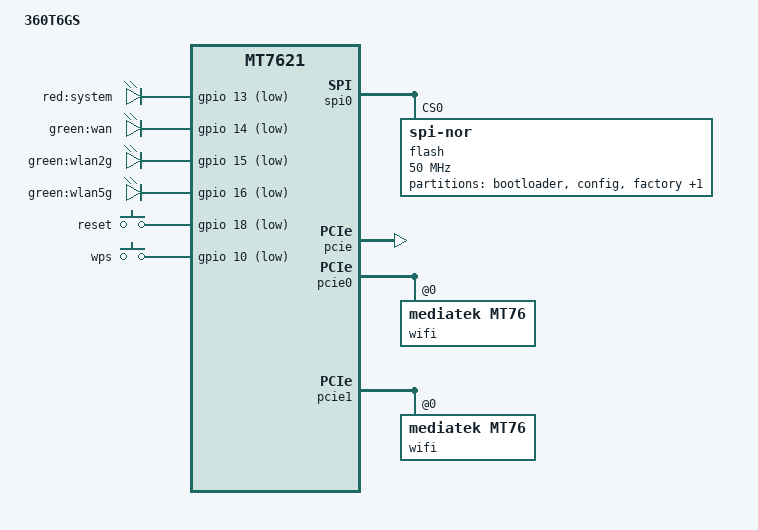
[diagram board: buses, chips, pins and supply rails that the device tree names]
// SPDX-License-Identifier: GPL-2.0-or-later OR MIT

#include "mt7621.dtsi"

#include <dt-bindings/gpio/gpio.h>
#include <dt-bindings/input/input.h>
#include <dt-bindings/leds/common.h>

/ {
	compatible = "360,360t6gs", "mediatek,mt7621-soc";
	model = "360T6GS";

	aliases {
		led-boot = &led_system;
		led-failsafe = &led_system;
		led-running = &led_system;
		led-upgrade = &led_system;
		label-mac-device = &gmac0;
	};

	chosen {
		bootargs = "console=ttyS0,115200";
	};

	leds {
		compatible = "gpio-leds";

		led_system: system {
			label = "red:system";
			gpios = <&gpio 13 GPIO_ACTIVE_LOW>;
		};

		wan {
			label = "green:wan";
			gpios = <&gpio 14 GPIO_ACTIVE_LOW>;
		};

		wlan2g {
			label = "green:wlan2g";
			gpios = <&gpio 15 GPIO_ACTIVE_LOW>;
			linux,default-trigger = "phy0tpt";
		};

		wlan5g {
			label = "green:wlan5g";
			gpios = <&gpio 16 GPIO_ACTIVE_LOW>;
			linux,default-trigger = "phy1tpt";
		};
	};

	keys {
		compatible = "gpio-keys";

		reset {
			label = "reset";
			gpios = <&gpio 18 GPIO_ACTIVE_LOW>;
			linux,code = <KEY_RESTART>;
		};

		wps {
			label = "wps";
			gpios = <&gpio 10 GPIO_ACTIVE_LOW>;
			linux,code = <KEY_WPS_BUTTON>;
		};
	};
};

&spi0 {
	status = "okay";

	flash@0 {
		compatible = "jedec,spi-nor";
		reg = <0>;
		spi-max-frequency = <50000000>;

		partitions {
			compatible = "fixed-partitions";
			#address-cells = <1>;
			#size-cells = <1>;

			partition@0 {
				label = "bootloader";
				reg = <0x0 0x30000>;
				read-only;
			};

			partition@30000 {
				label = "config";
				reg = <0x30000 0x10000>;
				read-only;
			};

			partition@40000 {
				label = "factory";
				reg = <0x40000 0x10000>;
				read-only;

				nvmem-layout {
					compatible = "fixed-layout";
					#address-cells = <1>;
					#size-cells = <1>;

					eeprom_factory_0: eeprom@0 {
						reg = <0x0 0xe00>;
					};

					eeprom_factory_8000: eeprom@8000 {
						reg = <0x8000 0xe00>;
					};

					macaddr_factory_4: macaddr@4 {
						compatible = "mac-base";
						reg = <0x4 0x6>;
						#nvmem-cell-cells = <1>;
					};
				};
			};

			partition@50000 {
				compatible = "denx,uimage";
				label = "firmware";
				reg = <0x50000 0xfb0000>;
			};
		};
	};
};

&pcie {
	status = "okay";
};

&pcie0 {
	wifi@0,0 {
		compatible = "mediatek,mt76";
		reg = <0x0000 0 0 0 0>;
		nvmem-cells = <&eeprom_factory_0>, <&macaddr_factory_4 0>;
		nvmem-cell-names = "eeprom", "mac-address";
		ieee80211-freq-limit = <2400000 2500000>;
	};
};

&pcie1 {
	wifi@0,0 {
		compatible = "mediatek,mt76";
		reg = <0x0000 0 0 0 0>;
		nvmem-cells = <&eeprom_factory_8000>, <&macaddr_factory_4 2>;
		nvmem-cell-names = "eeprom", "mac-address";
		ieee80211-freq-limit = <5000000 6000000>;
	};
};

&gmac0 {
	nvmem-cells = <&macaddr_factory_4 0>;
	nvmem-cell-names = "mac-address";
};

&switch0 {
	ports {
		port@0 {
			status = "okay";
			label = "lan3";
		};

		port@1 {
			status = "okay";
			label = "lan2";
		};

		port@2 {
			status = "okay";
			label = "lan1";
		};

		port@3 {
			status = "okay";
			label = "wan";

			nvmem-cells = <&macaddr_factory_4 1>;
			nvmem-cell-names = "mac-address";
		};

		port@6 {
			status = "okay";
			label = "cpu";
			ethernet = <&gmac0>;
			phy-mode = "rgmii";

			fixed-link {
				speed = <1000>;
				full-duplex;
				pause;
			};
		};
	};
};

&state_default {
	gpio {
		groups = "i2c", "uart2", "uart3", "wdt";
		function = "gpio";
	};
};
